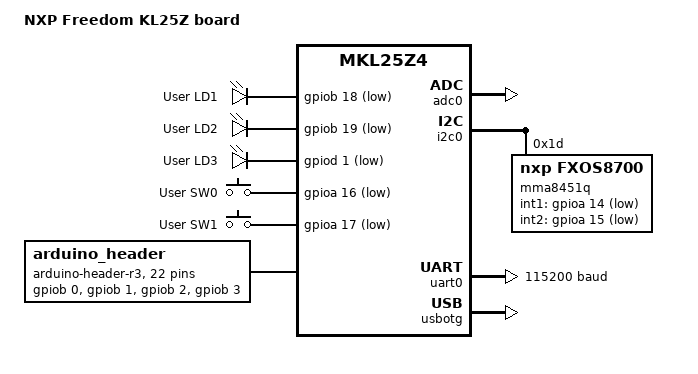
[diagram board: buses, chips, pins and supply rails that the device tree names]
/* SPDX-License-Identifier: Apache-2.0 */

/dts-v1/;

#include <nxp/nxp_kl25z.dtsi>
#include "frdm_kl25z-pinctrl.dtsi"
#include <zephyr/dt-bindings/gpio/arduino-header-r3.h>
#include <zephyr/dt-bindings/input/input-event-codes.h>

/ {
	model = "NXP Freedom KL25Z board";
	compatible = "nxp,frdm-kl25z", "nxp,kl25z", "nxp,mkl25z4";

	aliases {
		led0 = &green_led;
		led1 = &blue_led;
		led2 = &red_led;
		sw0 = &user_button_0;
		sw1 = &user_button_1;
		accel0 = &mma8451q;
	};

	chosen {
		zephyr,sram = &sram0;
		zephyr,flash = &flash0;
		zephyr,console = &uart0;
		zephyr,shell-uart = &uart0;
	};

	leds {
		compatible = "gpio-leds";

		red_led: led_0 {
			gpios = <&gpiob 18 GPIO_ACTIVE_LOW>;
			label = "User LD1";
		};

		green_led: led_1 {
			gpios = <&gpiob 19 GPIO_ACTIVE_LOW>;
			label = "User LD2";
		};

		blue_led: led_2 {
			gpios = <&gpiod 1 GPIO_ACTIVE_LOW>;
			label = "User LD3";
		};
	};

	gpio_keys {
		compatible = "gpio-keys";

		user_button_0: button_0 {
			label = "User SW0";
			gpios = <&gpioa 16 GPIO_ACTIVE_LOW>;
			zephyr,code = <INPUT_KEY_0>;
		};

		user_button_1: button_1 {
			label = "User SW1";
			gpios = <&gpioa 17 GPIO_ACTIVE_LOW>;
			zephyr,code = <INPUT_KEY_1>;
		};
	};

	arduino_header: connector {
		compatible = "arduino-header-r3";
		#gpio-cells = <2>;
		gpio-map-mask = <0xffffffff 0xffffffc0>;
		gpio-map-pass-thru = <0 0x3f>;
		gpio-map = <ARDUINO_HEADER_R3_A0 0 &gpiob 0 0>,
			   <ARDUINO_HEADER_R3_A1 0 &gpiob 1 0>,
			   <ARDUINO_HEADER_R3_A2 0 &gpiob 2 0>,
			   <ARDUINO_HEADER_R3_A3 0 &gpiob 3 0>,
			   <ARDUINO_HEADER_R3_A4 0 &gpioc 2 0>,
			   <ARDUINO_HEADER_R3_A5 0 &gpioc 1 0>,
			   <ARDUINO_HEADER_R3_D0 0 &gpioa 1 0>,
			   <ARDUINO_HEADER_R3_D1 0 &gpioa 2 0>,
			   <ARDUINO_HEADER_R3_D2 0 &gpiod 4 0>,
			   <ARDUINO_HEADER_R3_D3 0 &gpioa 12 0>,
			   <ARDUINO_HEADER_R3_D4 0 &gpioa 4 0>,
			   <ARDUINO_HEADER_R3_D5 0 &gpioa 5 0>,
			   <ARDUINO_HEADER_R3_D6 0 &gpioc 8 0>,
			   <ARDUINO_HEADER_R3_D7 0 &gpioc 9 0>,
			   <ARDUINO_HEADER_R3_D8 0 &gpioa 13 0>,
			   <ARDUINO_HEADER_R3_D9 0 &gpiod 5 0>,
			   <ARDUINO_HEADER_R3_D10 0 &gpiod 0 0>,
			   <ARDUINO_HEADER_R3_D11 0 &gpiod 2 0>,
			   <ARDUINO_HEADER_R3_D12 0 &gpiod 3 0>,
			   <ARDUINO_HEADER_R3_D13 0 &gpiod 1 0>,
			   <ARDUINO_HEADER_R3_D14 0 &gpioe 0 0>,
			   <ARDUINO_HEADER_R3_D15 0 &gpioe 1 0>;
	};
};

&sim {
	pllfll-select = <KINETIS_SIM_PLLFLLSEL_MCGPLLCLK>;
	er32k-select = <KINETIS_SIM_ER32KSEL_LPO1KHZ>;
};

&cpu0 {
	clock-frequency = <DT_FREQ_M(48)>;
};

&adc0 {
	status = "okay";
	pinctrl-0 = <&adc0_default>;
	pinctrl-names = "default";
};

&i2c0 {
	status = "okay";
	pinctrl-0 = <&i2c0_default>;
	pinctrl-names = "default";

	mma8451q: mma8451q@1d {
		compatible = "nxp,fxos8700", "nxp,mma8451q";
		reg = <0x1d>;
		int1-gpios = <&gpioa 14 GPIO_ACTIVE_LOW>;
		int2-gpios = <&gpioa 15 GPIO_ACTIVE_LOW>;
	};
};

&uart0 {
	status = "okay";
	current-speed = <115200>;
	pinctrl-0 = <&uart0_default>;
	pinctrl-names = "default";
};

&gpioa {
	status = "okay";
};

&gpiob {
	status = "okay";
};

&gpiod {
	status = "okay";
};

zephyr_udc0: &usbotg {
	compatible = "nxp,kinetis-usbd";
	status = "okay";
	num-bidir-endpoints = <8>;
};
